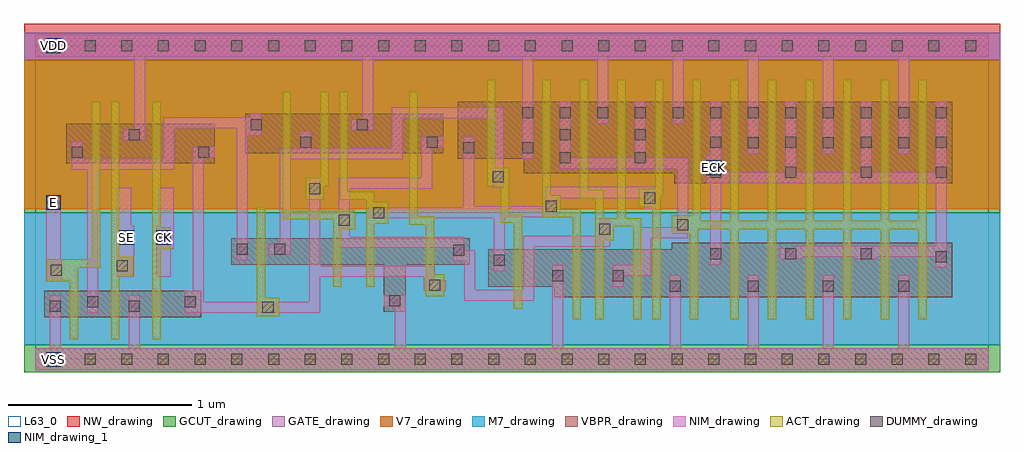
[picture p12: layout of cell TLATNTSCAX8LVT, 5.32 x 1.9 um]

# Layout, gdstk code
import gdstk
lib = gdstk.Library(unit=1e-6, precision=5e-10)
def R(c, l, rs):  # rectangles x0, y0, x1, y1
    for r in rs: c.add(gdstk.rectangle(r[:2], r[2:], *l))
def A(c, l, x, y, w, h, nx, ny, dx, dy):  # array of equal rectangles
    R(c, l, [(x+i*dx, y+j*dy, x+i*dx+w, y+j*dy+h) for i in range(nx) for j in range(ny)])
def P(c, l, *ps):  # polygons
    for p in ps: c.add(gdstk.Polygon(p, *l))
VBPR_drawing = (1, 0)
NW_drawing = (2, 0)
ACT_drawing = (3, 0)
GATE_drawing = (4, 0)
GCUT_drawing = (5, 0)
DUMMY_drawing = (6, 0)
NIM_drawing = (7, 0)
NIM_drawing_1 = (7, 1)
M7_drawing = (26, 0)
V7_drawing = (27, 0)
L63_0 = (63, 0)

tlatntscax8lvt = lib.new_cell('TLATNTSCAX8LVT')
R(tlatntscax8lvt, VBPR_drawing, [(0,-0.06,5.2,0.06), (0.05,0.23,0.905,0.375), (0.17,1.07,0.98,1.285), (1.145,1.125,2.225,1.34), (0,1.65,5.2,1.77)])
P(tlatntscax8lvt, VBPR_drawing, [(2.305,1.405),(5,1.405),(5,0.96),(3.485,0.96),(3.485,1.015),(2.665,1.015),(2.665,1.095),(2.305,1.095)],
  [(1.07,0.66),(2.37,0.66),(2.37,0.515),(2.02,0.515),(2.02,0.26),(1.9,0.26),(1.9,0.515),(1.07,0.515)],
  [(3.47,0.635),(5,0.635),(5,0.34),(2.83,0.34),(2.83,0.395),(2.47,0.395),(2.47,0.6),(3.47,0.6)])
R(tlatntscax8lvt, NW_drawing, [(-0.06,0.82,5.26,1.83)])
R(tlatntscax8lvt, ACT_drawing, [(0.065,0.425,0.165,0.545), (0.16,0.425,0.195,0.545)])
P(tlatntscax8lvt, ACT_drawing, [(1.35,1.46),(1.395,1.46),(1.395,0.81),(1.745,0.81),(1.745,0.71),(1.67,0.71),(1.67,0.395),(1.625,0.395),(1.625,0.765),(1.35,0.765)],
  [(1.555,1.46),(1.6,1.46),(1.6,0.945),(1.575,0.945),(1.575,0.87),(1.475,0.87),(1.475,0.99),(1.555,0.99)],
  [(1.66,1.46),(1.705,1.46),(1.705,0.915),(1.85,0.915),(1.85,0.86),(1.925,0.86),(1.925,0.74),(1.85,0.74),(1.85,0.395),(1.805,0.395),(1.805,0.87),(1.66,0.87)],
  [(2.04,1.46),(2.085,1.46),(2.085,0.78),(2.175,0.78),(2.175,0.465),(2.23,0.465),(2.23,0.345),(2.13,0.345),(2.13,0.735),(2.04,0.735)],
  [(2.465,1.525),(2.51,1.525),(2.51,1.045),(2.585,1.045),(2.585,0.79),(2.655,0.79),(2.655,0.275),(2.61,0.275),(2.61,0.745),(2.54,0.745),(2.54,0.945),(2.465,0.945)],
  [(2.765,1.525),(2.81,1.525),(2.81,0.895),(2.865,0.895),(2.865,0.82),(2.975,0.82),(2.975,0.22),(2.93,0.22),(2.93,0.775),(2.765,0.775)],
  [(2.97,1.525),(3.015,1.525),(3.015,0.925),(3.1,0.925),(3.1,0.77),(3.175,0.77),(3.175,1.525),(3.22,1.525),(3.22,0.77),(3.305,0.77),(3.305,0.22),(3.26,0.22),(3.26,0.725),(3.155,0.725),(3.155,0.65),(3.1,0.65),(3.1,0.22),(3.055,0.22),(3.055,0.88),(2.97,0.88)],
  [(3.38,1.525),(3.425,1.525),(3.425,0.89),(3.41,0.89),(3.41,0.22),(3.365,0.22),(3.365,0.83),(3.29,0.83),(3.29,0.93),(3.38,0.93)],
  [(3.585,1.525),(3.63,1.525),(3.63,0.755),(3.79,0.755),(3.79,1.525),(3.835,1.525),(3.835,0.755),(3.995,0.755),(3.995,1.525),(4.04,1.525),(4.04,0.755),(4.2,0.755),(4.2,1.525),(4.245,1.525),(4.245,0.755),(4.405,0.755),(4.405,1.525),(4.45,1.525),(4.45,0.755),(4.61,0.755),(4.61,1.525),(4.655,1.525),(4.655,0.755),(4.815,0.755),(4.815,1.525),(4.86,1.525),(4.86,0.22),(4.815,0.22),(4.815,0.71),(4.655,0.71),(4.655,0.22),(4.61,0.22),(4.61,0.71),(4.45,0.71),(4.45,0.22),(4.405,0.22),(4.405,0.71),(4.245,0.71),(4.245,0.22),(4.2,0.22),(4.2,0.71),(4.04,0.71),(4.04,0.22),(3.995,0.22),(3.995,0.71),(3.835,0.71),(3.835,0.22),(3.79,0.22),(3.79,0.71),(3.615,0.71),(3.615,0.22),(3.57,0.22),(3.57,0.685),(3.47,0.685),(3.47,0.785),(3.585,0.785)],
  [(0.31,1.405),(0.355,1.405),(0.355,0.5),(0.235,0.5),(0.235,0.11),(0.19,0.11),(0.19,0.545),(0.31,0.545)],
  [(0.415,1.405),(0.46,1.405),(0.46,0.56),(0.535,0.56),(0.535,0.46),(0.46,0.46),(0.46,0.11),(0.415,0.11)],
  [(0.64,1.405),(0.685,1.405),(0.685,0.72),(0.74,0.72),(0.74,0.6),(0.685,0.6),(0.685,0.11),(0.64,0.11)],
  [(1.21,0.83),(1.255,0.83),(1.255,0.335),(1.33,0.335),(1.33,0.235),(1.21,0.235)])
R(tlatntscax8lvt, GATE_drawing, [(-0.06,0.08,5.26,0.8), (-0.06,1.63,5.26,1.78)])
R(tlatntscax8lvt, GCUT_drawing, [(-0.06,-0.07,5.26,0.08), (-0.06,0.8,5.26,1.63)])
A(tlatntscax8lvt, DUMMY_drawing, 0.07, -0.03, 0.06, 0.06, 26, 2, 0.2, 1.71)
A(tlatntscax8lvt, DUMMY_drawing, 3.885, 0.37, 0.06, 0.06, 3, 2, 0.41, 0.78)
A(tlatntscax8lvt, DUMMY_drawing, 3.68, 0.545, 0.06, 0.06, 3, 1, 0.41, 0)
A(tlatntscax8lvt, DUMMY_drawing, 3.68, 0.99, 0.06, 0.06, 4, 2, 0.41, 0.165)
A(tlatntscax8lvt, DUMMY_drawing, 2.655, 1.315, 0.06, 0.06, 12, 1, 0.205, 0)
R(tlatntscax8lvt, DUMMY_drawing, [(1.24,0.255,1.3,0.315), (0.08,0.26,0.14,0.32), (0.51,0.26,0.57,0.32), (0.285,0.285,0.345,0.345), (0.815,0.285,0.875,0.345), (1.93,0.29,1.99,0.35), (3.46,0.37,3.52,0.43), (2.15,0.375,2.21,0.435), (2.82,0.425,2.88,0.485), (3.15,0.425,3.21,0.485), (0.085,0.455,0.145,0.515), (0.445,0.48,0.505,0.54), (2.5,0.51,2.56,0.57), (4.91,0.53,4.97,0.59), (2.28,0.565,2.34,0.625), (1.1,0.57,1.16,0.63), (1.305,0.57,1.365,0.63), (0.66,0.63,0.72,0.69), (3.075,0.68,3.135,0.74), (3.5,0.705,3.56,0.765), (1.655,0.73,1.715,0.79), (1.845,0.77,1.905,0.83), (2.785,0.805,2.845,0.865), (3.32,0.85,3.38,0.91), (1.495,0.9,1.555,0.96), (2.495,0.965,2.555,1.025), (2.86,1.07,2.92,1.13), (3.27,1.07,3.33,1.13), (0.2,1.1,0.26,1.16), (0.89,1.1,0.95,1.16), (2.335,1.125,2.395,1.185), (2.655,1.125,2.715,1.185), (1.445,1.155,1.505,1.215), (2.135,1.155,2.195,1.215), (0.51,1.195,0.57,1.255), (2.86,1.195,2.92,1.255), (3.27,1.195,3.33,1.255), (1.175,1.25,1.235,1.31), (1.755,1.25,1.815,1.31)])
A(tlatntscax8lvt, NIM_drawing, 3.885, 0.06, 0.06, 0.4, 3, 1, 0.41, 0)
A(tlatntscax8lvt, NIM_drawing, 3.885, 1.12, 0.06, 0.53, 3, 1, 0.41, 0)
R(tlatntscax8lvt, NIM_drawing, [(0.08,0.06,0.14,0.35), (0.51,0.06,0.57,0.35), (2.82,0.06,2.88,0.515), (3.46,0.06,3.52,0.46), (0.06,0.425,0.14,0.895), (0.085,0.425,0.145,0.545), (2.655,1.095,2.715,1.65), (3.065,1.285,3.125,1.65), (3.475,1.285,3.535,1.65)])
P(tlatntscax8lvt, NIM_drawing, [(0.6,1.65),(0.54,1.65),(0.54,1.255),(0.48,1.255),(0.48,1.195),(0.6,1.195)],
  [(1.845,1.65),(1.785,1.65),(1.785,1.31),(1.725,1.31),(1.725,1.25),(1.845,1.25)],
  [(2.02,0.35),(1.9,0.35),(1.9,0.29),(1.96,0.29),(1.96,0.06),(2.02,0.06)],
  [(1.175,1.34),(1.235,1.34),(1.235,1.22),(1.16,1.22),(1.16,0.54),(1.1,0.54),(1.1,1.26),(0.76,1.26),(0.76,1.035),(0.345,1.035),(0.345,0.255),(0.285,0.255),(0.285,1.035),(0.2,1.035),(0.2,1.19),(0.26,1.19),(0.26,1.095),(0.7,1.095),(0.7,1.32),(1.175,1.32)],
  [(1.945,1.375),(2.555,1.375),(2.555,0.935),(2.495,0.935),(2.495,1.315),(2.005,1.315),(2.005,1.09),(1.395,1.09),(1.395,0.57),(1.275,0.57),(1.275,0.63),(1.335,0.63),(1.335,1.15),(1.445,1.15),(1.445,1.245),(1.505,1.245),(1.505,1.15),(1.945,1.15)],
  [(0.86,1.16),(0.98,1.16),(0.98,1.1),(0.92,1.1),(0.92,0.315),(1.495,0.315),(1.495,0.99),(1.555,0.99),(1.555,0.51),(2.18,0.51),(2.18,0.435),(2.24,0.435),(2.24,0.375),(2.12,0.375),(2.12,0.45),(1.555,0.45),(1.555,0.255),(0.815,0.255),(0.815,0.375),(0.86,0.375)],
  [(0.445,0.935),(0.525,0.935),(0.525,0.73),(0.54,0.73),(0.54,0.45),(0.445,0.45)],
  [(0.675,0.935),(0.755,0.935),(0.755,0.6),(0.74,0.6),(0.74,0.45),(0.66,0.45),(0.66,0.73),(0.675,0.73)],
  [(2.105,1.215),(2.225,1.215),(2.225,1.155),(2.165,1.155),(2.165,0.93),(1.715,0.93),(1.715,0.67),(2.34,0.67),(2.34,0.595),(2.4,0.595),(2.4,0.38),(2.66,0.38),(2.66,0.675),(3.075,0.675),(3.075,0.77),(3.135,0.77),(3.135,0.615),(2.72,0.615),(2.72,0.32),(2.34,0.32),(2.34,0.535),(2.28,0.535),(2.28,0.61),(1.655,0.61),(1.655,0.99),(2.105,0.99)],
  [(2.335,1.215),(2.395,1.215),(2.395,0.835),(2.785,0.835),(2.785,0.94),(3.38,0.94),(3.38,0.82),(3.32,0.82),(3.32,0.88),(2.845,0.88),(2.845,0.775),(2.56,0.775),(2.56,0.48),(2.5,0.48),(2.5,0.77),(1.815,0.77),(1.815,0.83),(2.335,0.83)],
  [(2.86,1.405),(2.92,1.405),(2.92,1.1),(3.27,1.1),(3.27,1.405),(3.33,1.405),(3.33,1.1),(3.56,1.1),(3.56,0.66),(3.36,0.66),(3.36,0.455),(3.21,0.455),(3.21,0.395),(3.15,0.395),(3.15,0.515),(3.3,0.515),(3.3,0.72),(3.5,0.72),(3.5,1.04),(2.86,1.04)],
  [(3.68,1.405),(3.74,1.405),(3.74,1.02),(4.09,1.02),(4.09,1.405),(4.15,1.405),(4.15,1.02),(4.5,1.02),(4.5,1.405),(4.56,1.405),(4.56,1.02),(4.91,1.02),(4.91,1.405),(4.97,1.405),(4.97,0.5),(4.91,0.5),(4.91,0.56),(4.59,0.56),(4.59,0.545),(4.47,0.545),(4.47,0.56),(4.18,0.56),(4.18,0.545),(4.06,0.545),(4.06,0.605),(4.135,0.605),(4.135,0.62),(4.91,0.62),(4.91,0.96),(3.74,0.96),(3.74,0.515),(3.68,0.515),(3.68,0.96),(3.66,0.96),(3.66,1.11),(3.68,1.11)])
A(tlatntscax8lvt, NIM_drawing_1, 0.06, -0.04, 0.08, 0.08, 1, 3, 0, 0.855)
R(tlatntscax8lvt, NIM_drawing_1, [(0.46,0.625,0.54,0.705), (0.66,0.625,0.74,0.705), (3.66,1.005,3.74,1.085)])
R(tlatntscax8lvt, M7_drawing, [(-0.06,0.08,5.26,0.8)])
R(tlatntscax8lvt, V7_drawing, [(-0.06,0.82,5.26,1.63)])
R(tlatntscax8lvt, L63_0, [(0,0,5.2,1.71)])
tlatntscax8lvt.add(gdstk.FlexPath([(0,0),(5.2,0)], 0.12, ends="flush", simple_path=True, layer=7, datatype=0))  # NIM_drawing
tlatntscax8lvt.add(gdstk.FlexPath([(0,1.71),(5.2,1.71)], 0.12, ends="flush", simple_path=True, layer=7, datatype=0))  # NIM_drawing
tlatntscax8lvt.add(gdstk.Label('ECK', (3.7,1.045), layer=7, texttype=1))
tlatntscax8lvt.add(gdstk.Label('CK', (0.7,0.665), layer=7, texttype=1))
tlatntscax8lvt.add(gdstk.Label('SE', (0.5,0.665), layer=7, texttype=1))
tlatntscax8lvt.add(gdstk.Label('E', (0.1,0.855), layer=7, texttype=1))
tlatntscax8lvt.add(gdstk.Label('VDD', (0.1,1.71), layer=7, texttype=1))
tlatntscax8lvt.add(gdstk.Label('VSS', (0.1,0), layer=7, texttype=1))
tlatntscax8lvt.add(gdstk.Label('VSS', (0.1,0), layer=7, texttype=1))
tlatntscax8lvt.add(gdstk.Label('VDD', (0.1,1.71), layer=7, texttype=1))
tlatntscax8lvt.add(gdstk.Label('E', (0.1,0.855), layer=7, texttype=1))
tlatntscax8lvt.add(gdstk.Label('SE', (0.5,0.665), layer=7, texttype=1))
tlatntscax8lvt.add(gdstk.Label('CK', (0.7,0.665), layer=7, texttype=1))
tlatntscax8lvt.add(gdstk.Label('ECK', (3.7,1.045), layer=7, texttype=1))
tlatntscax8lvt.add(gdstk.Label('TLATNTSCAX8', (0,0), layer=63, texttype=0))

lib.write_gds('TLATNTSCAX8LVT.gds')
